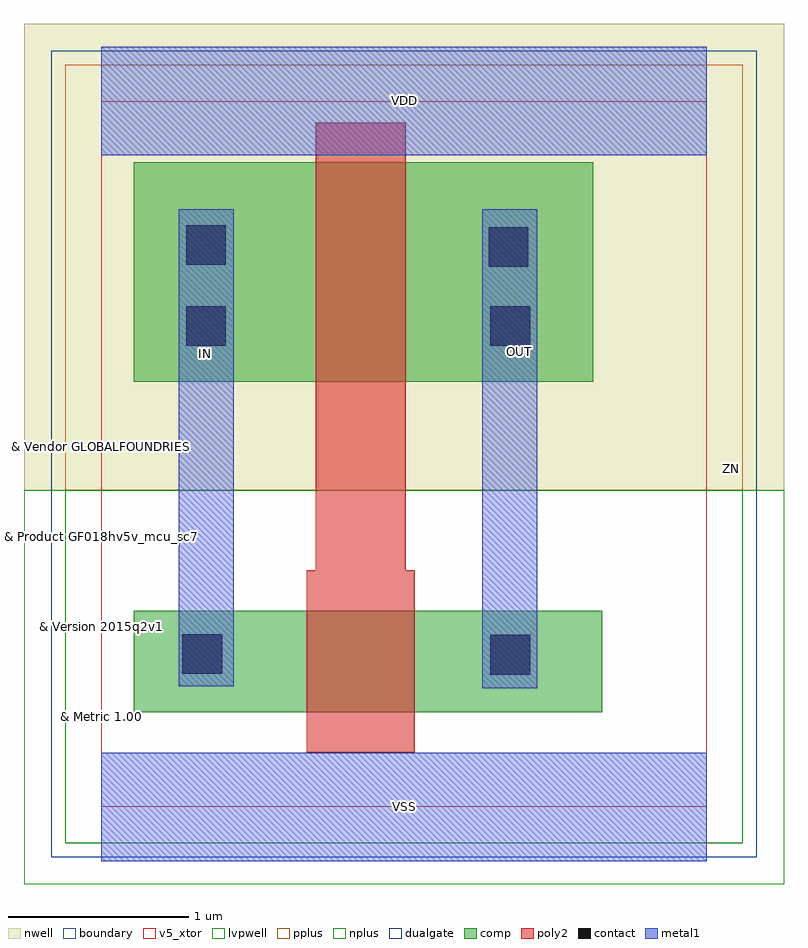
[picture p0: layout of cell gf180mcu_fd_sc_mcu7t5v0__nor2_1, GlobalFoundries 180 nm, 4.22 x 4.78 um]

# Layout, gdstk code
import gdstk
lib = gdstk.Library(unit=1e-6, precision=1e-09)
def R(c, l, rs):  # rectangles x0, y0, x1, y1
    for r in rs: c.add(gdstk.rectangle(r[:2], r[2:], *l))
def P(c, l, *ps):  # polygons
    for p in ps: c.add(gdstk.Polygon(p, *l))
boundary = (0, 0)
nwell = (21, 0)
comp = (22, 0)
poly2 = (30, 0)
pplus = (31, 0)
nplus = (32, 0)
contact = (33, 0)
metal1 = (34, 0)
dualgate = (55, 0)
v5_xtor = (112, 1)
lvpwell = (204, 0)

gf180mcu_fd_sc_mcu7t5v0_ = lib.new_cell('gf180mcu_fd_sc_mcu7t5v0__nor2_1')
R(gf180mcu_fd_sc_mcu7t5v0_, boundary, [(0,0,3.36,3.92)])
R(gf180mcu_fd_sc_mcu7t5v0_, nwell, [(-0.43,1.76,3.79,4.35)])
R(gf180mcu_fd_sc_mcu7t5v0_, comp, [(0.18,0.525,2.78,1.09), (0.18,2.36,2.73,3.58)])
P(gf180mcu_fd_sc_mcu7t5v0_, poly2, [(1.14,0.305),(1.14,1.315),(1.19,1.315),(1.19,3.8),(1.69,3.8),(1.69,1.315),(1.74,1.315),(1.74,0.305)])
R(gf180mcu_fd_sc_mcu7t5v0_, pplus, [(-0.2,1.76,3.56,4.12)])
R(gf180mcu_fd_sc_mcu7t5v0_, nplus, [(-0.2,-0.2,3.56,1.76)])
R(gf180mcu_fd_sc_mcu7t5v0_, contact, [(2.16,0.735,2.38,0.955), (0.45,0.74,0.67,0.96), (0.47,2.56,0.69,2.78), (2.16,2.56,2.38,2.78), (2.15,3,2.37,3.22), (0.47,3.01,0.69,3.23)])
R(gf180mcu_fd_sc_mcu7t5v0_, metal1, [(0.43,0.67,0.735,3.32)])
P(gf180mcu_fd_sc_mcu7t5v0_, metal1, [(0,3.62),(0,4.22),(3.36,4.22),(3.36,3.62),(0.475,3.62),(0.245,3.62)],
  [(2.115,0.66),(2.115,3.32),(2.42,3.32),(2.42,1.79),(2.42,0.66)],
  [(0,-0.3),(0,0.3),(0.245,0.3),(0.475,0.3),(2.485,0.3),(2.715,0.3),(3.36,0.3),(3.36,-0.3)])
R(gf180mcu_fd_sc_mcu7t5v0_, dualgate, [(-0.28,-0.28,3.64,4.2)])
R(gf180mcu_fd_sc_mcu7t5v0_, v5_xtor, [(0,0,3.36,3.92)])
R(gf180mcu_fd_sc_mcu7t5v0_, lvpwell, [(-0.43,-0.43,3.79,1.76)])
gf180mcu_fd_sc_mcu7t5v0_.add(gdstk.Label('IN', (0.58,2.52), layer=34, texttype=10))
gf180mcu_fd_sc_mcu7t5v0_.add(gdstk.Label('OUT', (2.32,2.53), layer=34, texttype=10))
gf180mcu_fd_sc_mcu7t5v0_.add(gdstk.Label('ZN', (3.5,1.88), layer=34, texttype=10))
gf180mcu_fd_sc_mcu7t5v0_.add(gdstk.Label('VDD', (1.68,3.925), layer=34, texttype=10))
gf180mcu_fd_sc_mcu7t5v0_.add(gdstk.Label('VSS', (1.68,0), layer=34, texttype=10))
gf180mcu_fd_sc_mcu7t5v0_.add(gdstk.Label('& Vendor GLOBALFOUNDRIES', (0,2), layer=63, texttype=63))
gf180mcu_fd_sc_mcu7t5v0_.add(gdstk.Label('& Product GF018hv5v_mcu_sc7', (0,1.5), layer=63, texttype=63))
gf180mcu_fd_sc_mcu7t5v0_.add(gdstk.Label('& Version 2015q2v1', (0,1), layer=63, texttype=63))
gf180mcu_fd_sc_mcu7t5v0_.add(gdstk.Label('& Metric 1.00', (0,0.5), layer=63, texttype=63))

lib.write_gds('gf180mcu_fd_sc_mcu7t5v0__nor2_1.gds')
